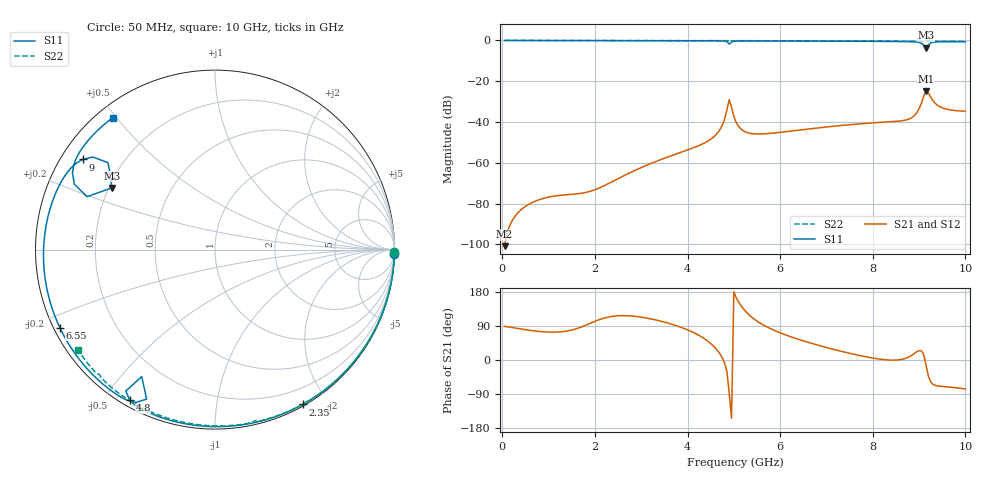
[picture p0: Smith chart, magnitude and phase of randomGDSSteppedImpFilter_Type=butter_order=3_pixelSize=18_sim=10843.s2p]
! freq	dB(S11)	phase(S11)	dB(S12)	phase(S12)
!  dB(S21)	phase(S21)	dB(S22)	phase(S22)
!S-par simulation data
#  GHz  S  DB  R 50
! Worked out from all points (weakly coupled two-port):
!   200 points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, 50 MHz to 10 GHz, reference 50 ohm
!   highest |S21| = -24.80 dB at 9.15 GHz (marker M1); lowest = -100.8 dB at 50 MHz (marker M2)
!   lowest |S11| = -3.5 dB at 9.15 GHz (marker M3), VSWR 5.04, Z = 10.6 + j13.3 ohm
!   |S11| at or under -10 dB: nowhere
!   |S22| runs from -0.5 to 0.0 dB; largest |S21 - S12| = 0
!   S11 on the Smith chart (normalised r, x): 50 MHz: 0, -86; 2.35 GHz: 0.02, -1.72; 4.8 GHz: 0.02, -0.58; 6.55 GHz: 0.02, -0.24; 9 GHz: 0.06, +0.31; 10 GHz: 0.05, +0.49
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0.05  -0.00 -1.3  -100.83 88.8  -100.83 88.8  -0.00 -0.8
0.6  -0.02 -15.9  -79.95 78.1  -79.95 78.1  -0.01 -10.0
1.75  -0.06 -45.6  -74.74 89.2  -74.74 89.2  -0.04 -28.8
2.35  -0.08 -60.5  -69.49 114.6  -69.49 114.6  -0.05 -38.4
3.4  -0.11 -85.5  -58.59 103.2  -58.59 103.2  -0.07 -54.7
4.45  -0.16 -109.5  -49.20 48.7  -49.20 48.7  -0.10 -70.3
4.65  -0.19 -114.5  -45.28 24.5  -45.28 24.5  -0.11 -73.3
4.8  -0.32 -119.5  -38.51 -7.8  -38.51 -7.8  -0.12 -75.5
4.9  -1.76 -120.0  -29.06 -88.1  -29.06 -88.1  -0.20 -76.9
5.05  -0.27 -119.4  -40.15 164.8  -40.15 164.8  -0.13 -78.8
5.2  -0.22 -123.7  -44.22 136.0  -44.22 136.0  -0.13 -81.0
5.4  -0.21 -128.4  -45.72 111.6  -45.72 111.6  -0.14 -83.8
6.55  -0.28 -153.3  -43.55 48.7  -43.55 48.7  -0.19 -99.5
6.7  -0.30 -156.5  -43.15 43.2  -43.15 43.2  -0.20 -101.5
8.35  -0.48 166.2  -39.88 -0.1  -39.88 -0.1  -0.32 -122.9
8.8  -0.61 153.8  -38.36 9.5  -38.36 9.5  -0.37 -128.7
9  -0.99 145.7  -33.49 24.9  -33.49 24.9  -0.40 -131.2
9.1  -2.30 140.9  -27.36 14.0  -27.36 14.0  -0.45 -132.4
9.15  -3.49 149.0  -24.80 -12.7  -24.80 -12.7  -0.46 -132.8
9.3  -0.90 151.7  -29.53 -64.2  -29.53 -64.2  -0.41 -134.7
9.55  -0.61 141.2  -33.41 -70.3  -33.41 -70.3  -0.43 -138.0
10  -0.63 127.8  -34.66 -76.4  -34.66 -76.4  -0.49 -143.7
